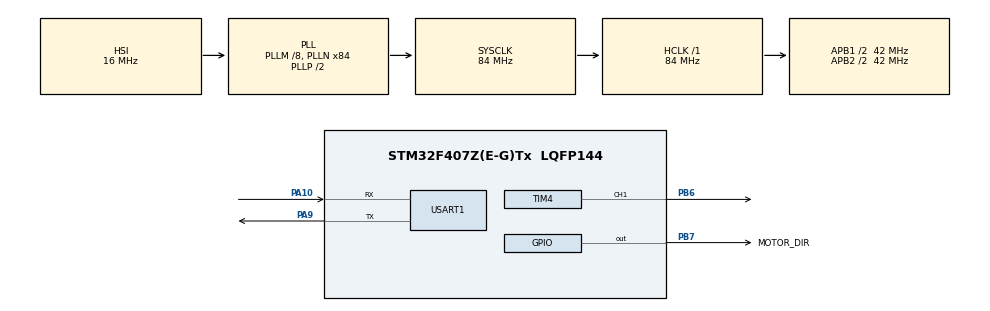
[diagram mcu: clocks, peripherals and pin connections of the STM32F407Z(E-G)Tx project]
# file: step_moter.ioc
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Mcu.Family=STM32F4
Mcu.Name=STM32F407Z(E-G)Tx
Mcu.Package=LQFP144
NVIC.PriorityGroup=NVIC_PRIORITYGROUP_4
NVIC.TIM4_IRQn=true\:0\:0\:false\:false\:true\:true\:true\:true
PA10.Mode=Asynchronous
PA10.Signal=USART1_RX
PA13.Mode=Serial_Wire
PA13.Signal=SYS_JTMS-SWDIO
PA14.Mode=Serial_Wire
PA14.Signal=SYS_JTCK-SWCLK
PA9.Mode=Asynchronous
PA9.Signal=USART1_TX
PB6.Signal=S_TIM4_CH1
PB7.GPIO_Label=MOTOR_DIR
PB7.Signal=GPIO_Output
PH0-OSC_IN.Mode=HSE-External-Oscillator
PH0-OSC_IN.Signal=RCC_OSC_IN
PH1-OSC_OUT.Mode=HSE-External-Oscillator
PH1-OSC_OUT.Signal=RCC_OSC_OUT
ProjectManager.HeapSize=0x200
ProjectManager.StackSize=0x400
ProjectManager.TargetToolchain=MDK-ARM V5.32
RCC.48MHZClocksFreq_Value=42000000
RCC.AHBFreq_Value=84000000
RCC.APB1CLKDivider=RCC_HCLK_DIV2
RCC.APB1Freq_Value=42000000
RCC.APB1TimFreq_Value=84000000
RCC.APB2CLKDivider=RCC_HCLK_DIV2
RCC.APB2Freq_Value=42000000
RCC.APB2TimFreq_Value=84000000
RCC.CortexFreq_Value=84000000
RCC.HCLKFreq_Value=84000000
RCC.HSE_VALUE=25000000
RCC.HSI_VALUE=16000000
RCC.LSE_VALUE=32768
RCC.PLLM=8
RCC.PLLN=84
RCC.SYSCLKFreq_VALUE=84000000
RCC.SYSCLKSource=RCC_SYSCLKSOURCE_PLLCLK
RCC.VCOOutputFreq_Value=168000000
SH.S_TIM4_CH1.0=TIM4_CH1,PWM Generation1 CH1
TIM4.AutoReloadPreload=TIM_AUTORELOAD_PRELOAD_ENABLE
TIM4.Channel-PWM\ Generation1\ CH1=TIM_CHANNEL_1
TIM4.Period=999
TIM4.Prescaler=83
TIM4.Pulse-PWM\ Generation1\ CH1=500
USART1.VirtualMode=VM_ASYNC
board=custom

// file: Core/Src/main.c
/* USER CODE BEGIN Header */
/**
  ******************************************************************************
  * @file           : main.c
  * @brief          : Main program body
  ******************************************************************************
  * @attention
  *
  * Copyright (c) 2026 STMicroelectronics.
  * All rights reserved.
  *
  * This software is licensed under terms that can be found in the LICENSE file
  * in the root directory of this software component.
  * If no LICENSE file comes with this software, it is provided AS-IS.
  *
  ******************************************************************************
  */
/* USER CODE END Header */
#include "main.h"
#include "tim.h"
#include "usart.h"
#include "gpio.h"

void SystemClock_Config(void);

/* USER CODE BEGIN 0 */
/* 全局变量定义区 */
int target_steps = 3200;      // 总共要走的步数
int current_step = 0;         // 已经走了的步数 (注意：昨天我们是倒着减，今天为了分段，我们正着加)

int accel_steps = 800;        // 用多少步来加速
int decel_steps = 800;        // 用多少步来减速

uint16_t arr_current = 2000;  // 起步时的 ARR (很大，意味着起步很慢)
uint16_t arr_min = 500;       // 巡航时的最小 ARR (速度最快)
uint16_t arr_step = 2;        // 每次进入中断，ARR 改变的步长 (比如每次减2或加2)

void Profile_Check(void)
{
    int expected_accel = 800;
    int expected_decel = 800;

    // 安检门：目标步数太短，发生“梯形退化为三角形”
    if (target_steps < (expected_accel + expected_decel))
    {
        accel_steps = target_steps / 2; // C语言自动向下取整
        decel_steps = accel_steps;
    }
    else
    {
        accel_steps = expected_accel;
        decel_steps = expected_decel;
    }
}

void Moter_Start()
{
      // 1. 开火前必须先过安检，计算真正的加减速步数！
    Profile_Check();

    // 2. 状态全部复位（清空弹夹）
    current_step = 0;
    arr_current = 2000; // 恢复到起步的慢速 ARR

    // 3. 把初始速度和 50% 占空比硬塞进底层寄存器
    __HAL_TIM_SET_AUTORELOAD(&htim4, arr_current);
    __HAL_TIM_SET_COMPARE(&htim4, TIM_CHANNEL_1, arr_current / 2);

HAL_TIM_PWM_Start_IT(&htim4,TIM_CHANNEL_1);

}
/* USER CODE END 0 */

int main(void)
{

  /* MCU Configuration--------------------------------------------------------*/

  /* Reset of all peripherals, Initializes the Flash interface and the Systick. */
  HAL_Init();

  /* Configure the system clock */
  SystemClock_Config();

  /* Initialize all configured peripherals */
  MX_GPIO_Init();
  MX_TIM4_Init();
  MX_USART1_UART_Init();
  /* USER CODE BEGIN 2 */
 HAL_Delay(3000);
  /* USER CODE END 2 */

  /* Infinite loop */
  while (1)
  {

    /* USER CODE BEGIN 3 */
      Moter_Start();      // 下令开火（走一圈）
    HAL_Delay(5000);    // 休息 2 秒，看它停不停
  }
  /* USER CODE END 3 */
}

void SystemClock_Config(void)
{
  RCC_OscInitTypeDef RCC_OscInitStruct = {0};
  RCC_ClkInitTypeDef RCC_ClkInitStruct = {0};

  /** Configure the main internal regulator output voltage
  */
  __HAL_RCC_PWR_CLK_ENABLE();
  __HAL_PWR_VOLTAGESCALING_CONFIG(PWR_REGULATOR_VOLTAGE_SCALE1);

  /** Initializes the RCC Oscillators according to the specified parameters
  * in the RCC_OscInitTypeDef structure.
  */
  RCC_OscInitStruct.OscillatorType = RCC_OSCILLATORTYPE_HSI;
  RCC_OscInitStruct.HSIState = RCC_HSI_ON;
  RCC_OscInitStruct.HSICalibrationValue = RCC_HSICALIBRATION_DEFAULT;
  RCC_OscInitStruct.PLL.PLLState = RCC_PLL_ON;
  RCC_OscInitStruct.PLL.PLLSource = RCC_PLLSOURCE_HSI;
  RCC_OscInitStruct.PLL.PLLM = 8;
  RCC_OscInitStruct.PLL.PLLN = 84;
  RCC_OscInitStruct.PLL.PLLP = RCC_PLLP_DIV2;
  RCC_OscInitStruct.PLL.PLLQ = 4;
  if (HAL_RCC_OscConfig(&RCC_OscInitStruct) != HAL_OK)
  {
    Error_Handler();
  }

  /** Initializes the CPU, AHB and APB buses clocks
  */
  RCC_ClkInitStruct.ClockType = RCC_CLOCKTYPE_HCLK|RCC_CLOCKTYPE_SYSCLK
                              |RCC_CLOCKTYPE_PCLK1|RCC_CLOCKTYPE_PCLK2;
  RCC_ClkInitStruct.SYSCLKSource = RCC_SYSCLKSOURCE_PLLCLK;
  RCC_ClkInitStruct.AHBCLKDivider = RCC_SYSCLK_DIV1;
  RCC_ClkInitStruct.APB1CLKDivider = RCC_HCLK_DIV2;
  RCC_ClkInitStruct.APB2CLKDivider = RCC_HCLK_DIV2;

  if (HAL_RCC_ClockConfig(&RCC_ClkInitStruct, FLASH_LATENCY_2) != HAL_OK)
  {
    Error_Handler();
  }
}

/* USER CODE BEGIN 4 */
 void HAL_TIM_PWM_PulseFinishedCallback(TIM_HandleTypeDef *htim)
{
if(htim->Instance ==TIM4)
{
 current_step++;
/* ======= 核心状态机 ======= */
  /* -------- 阶段 1：加速区 -------- */
   if (current_step <= accel_steps)
        {
       if (arr_current > arr_min)
         {
            arr_current -= arr_step;
         }
          // 写入新的频率，并严格保持 50% 占空比防止卡死！
          __HAL_TIM_SET_AUTORELOAD(&htim4, arr_current);
          __HAL_TIM_SET_COMPARE(&htim4, TIM_CHANNEL_1, arr_current / 2);
        }
   else if (current_step > (target_steps - decel_steps))
        {
            if (arr_current < 2000) // 不超过起步速度
            {
                arr_current += arr_step;
            }
            // 写入新的频率，并严格保持 50%占空比
            __HAL_TIM_SET_AUTORELOAD(&htim4, arr_current);
            __HAL_TIM_SET_COMPARE(&htim4, TIM_CHANNEL_1, arr_current / 2);
        }

 /* ======= 终点判定 ======= */
 if (current_step >= target_steps)
        {
            HAL_TIM_PWM_Stop_IT(&htim4, TIM_CHANNEL_1); // 到达终点，停火！
            current_step = 0; // 计数器清零，为下一次开火做准备
            arr_current = 2000; // ARR 恢复到起步速度，为下一次起步做准备
        }

}

}

/* USER CODE END 4 */

void Error_Handler(void)
{
  __disable_irq();
  while (1)
  {
  }
}
